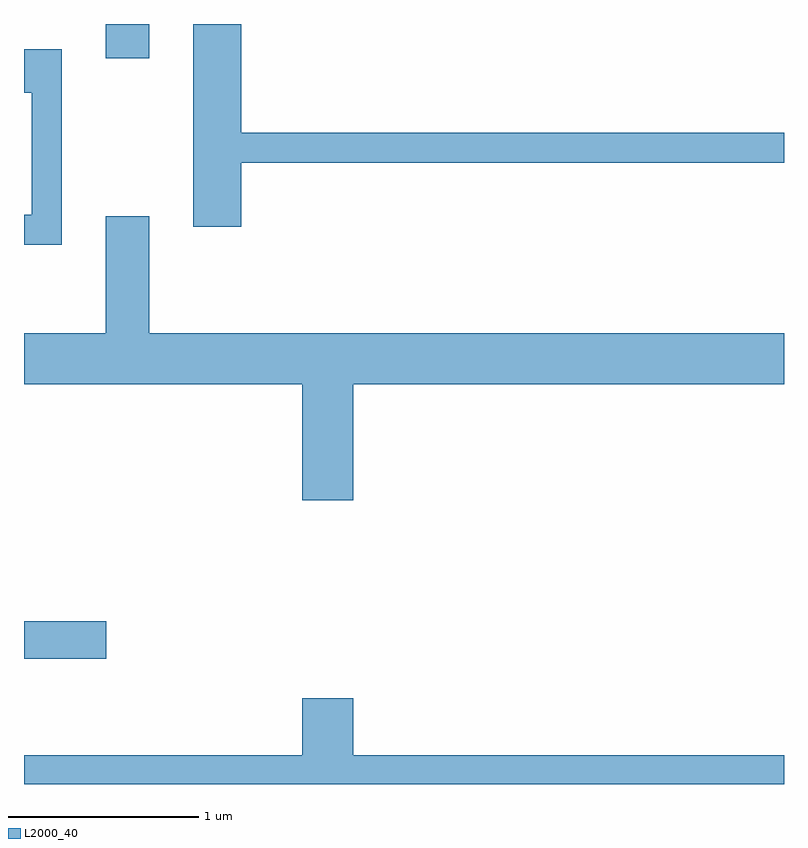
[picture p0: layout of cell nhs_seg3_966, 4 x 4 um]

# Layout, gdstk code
import gdstk
lib = gdstk.Library(unit=1e-6, precision=1e-09)
def R(c, l, rs):  # rectangles x0, y0, x1, y1
    for r in rs: c.add(gdstk.rectangle(r[:2], r[2:], *l))
def P(c, l, *ps):  # polygons
    for p in ps: c.add(gdstk.Polygon(p, *l))
L2000_40 = (2000, 40)

nhs_seg3_966 = lib.new_cell('nhs_seg3_966')
R(nhs_seg3_966, L2000_40, [(213.611,1144.551,214.044,1144.749), (214.041,1147.711,214.269,1147.892)])
P(nhs_seg3_966, L2000_40, [(214.754,1147.161),(217.611,1147.161),(217.611,1147.319),(214.754,1147.319),(214.754,1147.892),(214.501,1147.892),(214.501,1146.826),(214.754,1146.826)],
  [(213.809,1147.759),(213.611,1147.759),(213.611,1147.531),(213.651,1147.531),(213.651,1146.889),(213.611,1146.889),(213.611,1146.731),(213.809,1146.731)],
  [(215.344,1145.996),(217.611,1145.996),(217.611,1146.264),(214.269,1146.264),(214.269,1146.879),(214.041,1146.879),(214.041,1146.264),(213.611,1146.264),(213.611,1145.996),(215.076,1145.996),(215.076,1145.386),(215.344,1145.386)],
  [(217.611,1144.044),(215.344,1144.044),(215.344,1144.344),(215.076,1144.344),(215.076,1144.044),(213.611,1144.044),(213.611,1143.892),(217.611,1143.892)])

lib.write_gds('nhs_seg3_966.gds')
